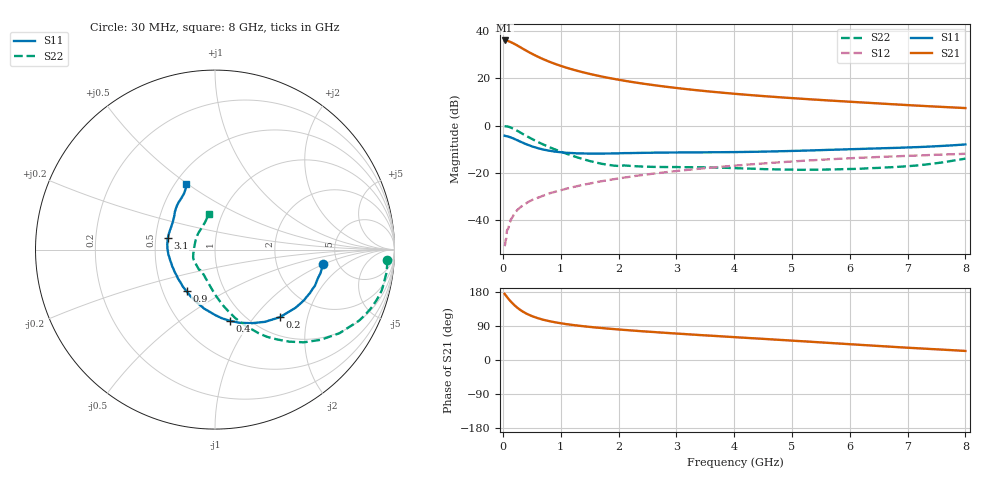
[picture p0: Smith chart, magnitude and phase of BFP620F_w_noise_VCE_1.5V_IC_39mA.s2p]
! Infineon Technologies  Discrete & RF Semiconductors
! BFP620F
! VCE =  1.5 V,  IC =  39 mA
! Common Emitter S-Parameters:  Dec 2014
# GHz  S  MA  R  50
!  f  S11  S21  S12  S22
! GHz  MAG  ANG  MAG  ANG  MAG  ANG  MAG  ANG
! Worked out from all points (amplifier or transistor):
!   95 points, 30 MHz to 8 GHz, reference 50 ohm
!   highest |S21| = 36.0 dB at 30 MHz (marker M1)
!   |S21| within 3 dB of that: start of sweep to 310.9 MHz
!   unconditionally stable (mu >= 1): 2.194 GHz to end of sweep
!   at 300 MHz: K = 0.44, MSG = 33.9 dB, |S12| = -34.7 dB
!   at 3.3 GHz: K = 1.03, MAG = 15.8 dB, |S12| = -18.5 dB
!   at 8 GHz: K = 1.05, MAG = 8.3 dB, |S12| = -11.9 dB
!   lowest NFmin = 1.34 dB at 450 MHz
!   S11 on the Smith chart (normalised r, x): 30 MHz: 3.83, -1.01; 200 MHz: 1.32, -1.37; 400 MHz: 0.84, -0.79; 900 MHz: 0.66, -0.33; 3.1 GHz: 0.58, +0.08; 8 GHz: 0.57, +0.49
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0.03  0.6091 -7.8  63.44 174.5  0.0028 78.4  0.9613 -3.6
0.07  0.5932 -17.7  62.61 166.6  0.006 75.7  0.9587 -11.7
0.11  0.5753 -27.0  60.32 158.9  0.0083 79.1  0.9345 -19.3
0.15  0.5531 -36.0  57.6 152.2  0.0107 75.2  0.8948 -26.3
0.2  0.5219 -46.2  53.58 144.6  0.0136 72.6  0.8355 -33.9
0.25  0.4894 -55.3  49.59 137.9  0.0164 72.0  0.775 -40.4
0.3  0.4583 -63.5  45.73 132.2  0.0185 68.2  0.7156 -46.2
0.35  0.4305 -71.3  42.07 127.3  0.0207 68.2  0.6591 -51.1
0.4  0.4054 -78.2  38.84 123.0  0.0225 67.1  0.6081 -55.4
0.5  0.3642 -90.0  33.28 116.0  0.0264 65.8  0.5236 -62.6
0.6  0.3338 -100.5  28.88 110.6  0.0295 65.7  0.4531 -68.5
0.7  0.3107 -109.4  25.41 106.2  0.0329 65.7  0.3977 -73.5
0.9  0.2813 -124.3  20.29 99.6  0.0396 65.2  0.3137 -81.9
1.1  0.2652 -136.5  16.8 94.6  0.0462 65.5  0.2537 -89.4
1.4  0.2571 -151.0  13.31 89.0  0.0561 65.1  0.1932 -100.4
1.9  0.2571 -168.4  9.847 81.8  0.0727 63.9  0.1429 -121.0
2.7  0.2677 173.4  6.945 72.8  0.0991 60.3  0.133 -144.6
3.1  0.2706 166.4  6.057 68.9  0.1124 58.0  0.1315 -151.9
4.1  0.2758 151.8  4.612 59.4  0.1448 52.1  0.1246 -166.4
5.4  0.2998 138.7  3.547 47.4  0.1858 43.0  0.1165 165.6
6.7  0.3348 126.3  2.85 35.2  0.2213 33.4  0.1312 134.0
8  0.399 113.6  2.349 23.9  0.2528 23.9  0.1998 100.2
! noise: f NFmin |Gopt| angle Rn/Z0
0.45  1.34  0.14  -173  0.16
0.9  1.36  0.14  -172  0.13
1.5  1.37  0.19  -151  0.11
1.8  1.38  0.19  -151  0.12
1.9  1.39  0.19  -150  0.12
2.4  1.41  0.2  214  0.14
3.5  1.47  0.2  220  0.17
5.5  1.61  0.26  246  0.16
6  1.65  0.27  261  0.2
